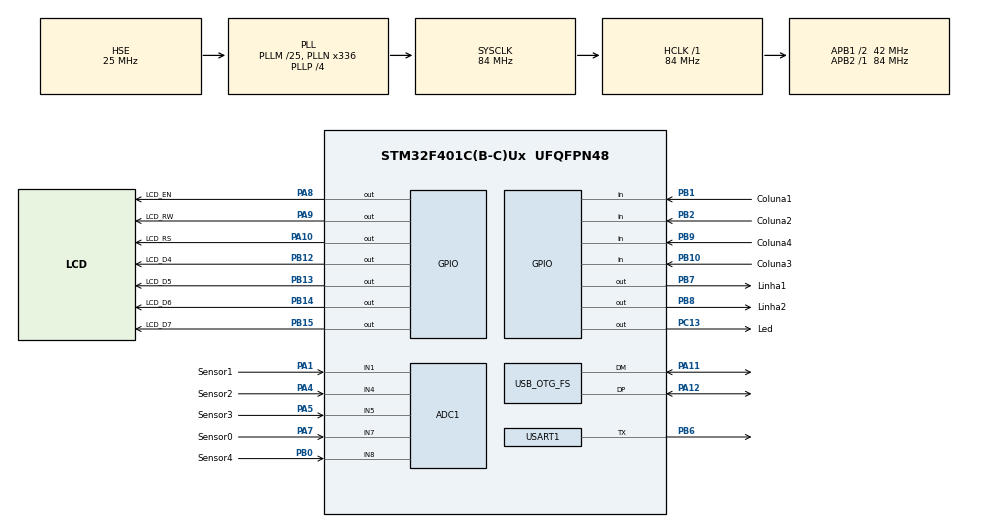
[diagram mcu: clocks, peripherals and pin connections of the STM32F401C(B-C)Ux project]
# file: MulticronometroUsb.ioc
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ADC1.Channel-2\#ChannelRegularConversion=ADC_CHANNEL_7
ADC1.Channel-3\#ChannelRegularConversion=ADC_CHANNEL_1
ADC1.Channel-4\#ChannelRegularConversion=ADC_CHANNEL_4
ADC1.Channel-5\#ChannelRegularConversion=ADC_CHANNEL_5
ADC1.Channel-6\#ChannelRegularConversion=ADC_CHANNEL_8
ADC1.ContinuousConvMode=DISABLE
ADC1.EOCSelection=ADC_EOC_SINGLE_CONV
ADC1.ExternalTrigConv=ADC_SOFTWARE_START
ADC1.InjNumberOfConversion=0
ADC1.NbrOfConversion=5
ADC1.NbrOfConversionFlag=1
ADC1.Rank-2\#ChannelRegularConversion=1
ADC1.Rank-3\#ChannelRegularConversion=2
ADC1.Rank-4\#ChannelRegularConversion=3
ADC1.Rank-5\#ChannelRegularConversion=4
ADC1.Rank-6\#ChannelRegularConversion=5
ADC1.SamplingTime-2\#ChannelRegularConversion=ADC_SAMPLETIME_56CYCLES
ADC1.SamplingTime-3\#ChannelRegularConversion=ADC_SAMPLETIME_56CYCLES
ADC1.SamplingTime-4\#ChannelRegularConversion=ADC_SAMPLETIME_56CYCLES
ADC1.SamplingTime-5\#ChannelRegularConversion=ADC_SAMPLETIME_56CYCLES
ADC1.SamplingTime-6\#ChannelRegularConversion=ADC_SAMPLETIME_56CYCLES
ADC1.ScanConvMode=ENABLE
ADC1.master=1
Dma.ADC1.0.Direction=DMA_PERIPH_TO_MEMORY
Dma.ADC1.0.FIFOMode=DMA_FIFOMODE_DISABLE
Dma.ADC1.0.Instance=DMA2_Stream0
Dma.ADC1.0.MemDataAlignment=DMA_MDATAALIGN_WORD
Dma.ADC1.0.MemInc=DMA_MINC_ENABLE
Dma.ADC1.0.Mode=DMA_NORMAL
Dma.ADC1.0.PeriphDataAlignment=DMA_PDATAALIGN_WORD
Dma.ADC1.0.PeriphInc=DMA_PINC_DISABLE
Dma.ADC1.0.Priority=DMA_PRIORITY_LOW
Dma.Request0=ADC1
FATFS._FS_EXFAT=1
FATFS._MAX_SS=512
FATFS._USE_LFN=1
Mcu.Family=STM32F4
Mcu.Name=STM32F401C(B-C)Ux
Mcu.Package=UFQFPN48
NVIC.DMA2_Stream0_IRQn=true\:0\:0\:false\:false\:true\:false\:true
NVIC.OTG_FS_IRQn=true\:0\:0\:false\:false\:true\:false\:true
NVIC.PriorityGroup=NVIC_PRIORITYGROUP_4
PA1.GPIO_Label=Sensor1
PA1.Signal=ADCx_IN1
PA10.GPIO_Label=LCD_RS
PA10.Signal=GPIO_Output
PA11.Mode=Host_Only
PA11.Signal=USB_OTG_FS_DM
PA12.Mode=Host_Only
PA12.Signal=USB_OTG_FS_DP
PA13.Signal=SYS_JTMS-SWDIO
PA14.Signal=SYS_JTCK-SWCLK
PA4.GPIO_Label=Sensor2
PA4.Signal=ADCx_IN4
PA5.GPIO_Label=Sensor3
PA5.Signal=ADCx_IN5
PA7.GPIO_Label=Sensor0
PA7.Signal=ADCx_IN7
PA8.GPIO_Label=LCD_EN
PA8.Signal=GPIO_Output
PA9.GPIO_Label=LCD_RW
PA9.Signal=GPIO_Output
PB0.GPIO_Label=Sensor4
PB0.Signal=ADCx_IN8
PB1.GPIO_Label=Coluna1
PB1.Signal=GPIO_Input
PB10.GPIO_Label=Coluna3
PB10.Signal=GPIO_Input
PB12.GPIO_Label=LCD_D4
PB12.Signal=GPIO_Output
PB13.GPIO_Label=LCD_D5
PB13.Signal=GPIO_Output
PB14.GPIO_Label=LCD_D6
PB14.Signal=GPIO_Output
PB15.GPIO_Label=LCD_D7
PB15.Signal=GPIO_Output
PB2.GPIO_Label=Coluna2
PB2.Signal=GPIO_Input
PB6.Mode=Half_duplex(single_wire_mode)
PB6.Signal=USART1_TX
PB7.GPIO_Label=Linha1
PB7.Signal=GPIO_Output
PB8.GPIO_Label=Linha2
PB8.Signal=GPIO_Output
PB9.GPIO_Label=Coluna4
PB9.Signal=GPIO_Input
PC13-ANTI_TAMP.GPIO_Label=Led
PC13-ANTI_TAMP.GPIO_ModeDefaultOutputPP=GPIO_MODE_OUTPUT_OD
PC13-ANTI_TAMP.GPIO_PuPd=GPIO_NOPULL
PC13-ANTI_TAMP.Signal=GPIO_Output
PC14-OSC32_IN.Signal=RCC_OSC32_IN
PC15-OSC32_OUT.Signal=RCC_OSC32_OUT
PH0\ -\ OSC_IN.Mode=HSE-External-Oscillator
PH0\ -\ OSC_IN.Signal=RCC_OSC_IN
PH1\ -\ OSC_OUT.Mode=HSE-External-Oscillator
PH1\ -\ OSC_OUT.Signal=RCC_OSC_OUT
ProjectManager.HeapSize=0x2000
ProjectManager.StackSize=0x800
ProjectManager.TargetToolchain=MDK-ARM V5.32
RCC.48MHZClocksFreq_Value=48000000
RCC.AHBFreq_Value=84000000
RCC.APB1CLKDivider=RCC_HCLK_DIV2
RCC.APB1Freq_Value=42000000
RCC.APB1TimFreq_Value=84000000
RCC.APB2Freq_Value=84000000
RCC.APB2TimFreq_Value=84000000
RCC.CortexFreq_Value=84000000
RCC.HCLKFreq_Value=84000000
RCC.HSE_VALUE=25000000
RCC.HSI_VALUE=16000000
RCC.LSE_VALUE=32768
RCC.PLLM=25
RCC.PLLN=336
RCC.PLLP=RCC_PLLP_DIV4
RCC.PLLQ=7
RCC.SYSCLKFreq_VALUE=84000000
RCC.SYSCLKSource=RCC_SYSCLKSOURCE_PLLCLK
RCC.VCOOutputFreq_Value=336000000
SH.ADCx_IN1.0=ADC1_IN1,IN1
SH.ADCx_IN4.0=ADC1_IN4,IN4
SH.ADCx_IN5.0=ADC1_IN5,IN5
SH.ADCx_IN7.0=ADC1_IN7,IN7
SH.ADCx_IN8.0=ADC1_IN8,IN8
USART1.BaudRate=57600
USART1.Mode=MODE_TX
USART1.VirtualMode=VM_ASYNC
USB_HOST.USBH_DEBUG_LEVEL=0
USB_HOST.USBH_HandleTypeDef=hUsbHostFS
USB_HOST.VirtualModeFS=Msc
USB_OTG_FS.VirtualMode=Host_Only
USB_OTG_FS.phy_itface=HCD_PHY_EMBEDDED
VP_FATFS_VS_USB.Mode=USB
VP_USB_HOST_VS_USB_HOST_MSC_FS.Mode=MSC_FS
board=custom

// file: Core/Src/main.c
/* USER CODE BEGIN Header */
/**
  ******************************************************************************
  * @file           : main.c
  * @brief          : Main program body
  ******************************************************************************
  * @attention
  *
  * Copyright (c) 2022 STMicroelectronics.
  * All rights reserved.
  *
  * This software is licensed under terms that can be found in the LICENSE file
  * in the root directory of this software component.
  * If no LICENSE file comes with this software, it is provided AS-IS.
  *
  ******************************************************************************
  */
/* USER CODE END Header */
#include "main.h"
#include "fatfs.h"
#include "usb_host.h"

/* USER CODE BEGIN Includes */
#include "stm32f4xx_hal.h"
 #include <stdio.h>
#include "Application.h"
#include "File_Handling.h"
#include "usb_host.h"
#include "usbh_core.h"
#include "usbh_msc.h"

/* USER CODE END Includes */

ADC_HandleTypeDef hadc1;
DMA_HandleTypeDef hdma_adc1;

UART_HandleTypeDef huart1;

void SystemClock_Config(void);

static void MX_USART1_UART_Init(void);
void MX_USB_HOST_Process(void);

int main(void)
{

  /* MCU Configuration--------------------------------------------------------*/

  /* Reset of all peripherals, Initializes the Flash interface and the Systick. */
    HAL_Init();

  /* USER CODE BEGIN Init */

  /*-----------------------------------------------------------------------
   * LATCH DE ENERGIA IMEDIATO - PA3 (PowerON) = HIGH
   * Deve ser a PRIMEIRA coisa apos HAL_Init() para garantir que a placa
   * fique ligada mesmo se alguma inicializacao posterior falhar.
   * Gpio.Init() em App.Init() ira re-configurar PA3 depois, sem problema.
   *-----------------------------------------------------------------------*/
  __HAL_RCC_GPIOA_CLK_ENABLE();
  {
    GPIO_InitTypeDef gpio = {0};
    gpio.Pin   = GPIO_PIN_3;            /* PA3 = PowerON  */
    gpio.Mode  = GPIO_MODE_OUTPUT_PP;
    gpio.Pull  = GPIO_PULLUP;
    gpio.Speed = GPIO_SPEED_FREQ_LOW;
    HAL_GPIO_Init(GPIOA, &gpio);
    HAL_GPIO_WritePin(GPIOA, GPIO_PIN_3, GPIO_PIN_SET);  /* Mantem ligado */
  }

  /* USER CODE END Init */

  /* Configure the system clock */
  SystemClock_Config();

  /* Initialize all configured peripherals */
  //MX_GPIO_Init();
  MX_FATFS_Init();
  //MX_USB_HOST_Init();
  MX_DMA_Init();
  MX_ADC1_Init();
  MX_USART1_UART_Init();

  /* Infinite loop */
  /* USER CODE BEGIN WHILE */

 HAL_ADC_Start(&hadc1);

  while (1)
  {
    /* USER CODE END WHILE */
    MX_USB_HOST_Process();

    /* USER CODE BEGIN 3 */
 //   HAL_UART_Transmit(&huart1, (uint8_t *)"teste ", 6, HAL_MAX_DELAY);
   App.Init();
   App.Run();

  }
  /* USER CODE END 3 */
}

void SystemClock_Config(void)
{
  RCC_OscInitTypeDef RCC_OscInitStruct = {0};
  RCC_ClkInitTypeDef RCC_ClkInitStruct = {0};

  /** Configure the main internal regulator output voltage
  */
  __HAL_RCC_PWR_CLK_ENABLE();
  __HAL_PWR_VOLTAGESCALING_CONFIG(PWR_REGULATOR_VOLTAGE_SCALE2);
  /** Initializes the RCC Oscillators according to the specified parameters
  * in the RCC_OscInitTypeDef structure.
  */
  RCC_OscInitStruct.OscillatorType = RCC_OSCILLATORTYPE_HSE;
  RCC_OscInitStruct.HSEState = RCC_HSE_ON;
  RCC_OscInitStruct.PLL.PLLState = RCC_PLL_ON;
  RCC_OscInitStruct.PLL.PLLSource = RCC_PLLSOURCE_HSE;
  RCC_OscInitStruct.PLL.PLLM = 25;
  RCC_OscInitStruct.PLL.PLLN = 336;
  RCC_OscInitStruct.PLL.PLLP = RCC_PLLP_DIV4;
  RCC_OscInitStruct.PLL.PLLQ = 7;
  if (HAL_RCC_OscConfig(&RCC_OscInitStruct) != HAL_OK)
  {
    Error_Handler();
  }
  /** Initializes the CPU, AHB and APB buses clocks
  */
  RCC_ClkInitStruct.ClockType = RCC_CLOCKTYPE_HCLK|RCC_CLOCKTYPE_SYSCLK
                              |RCC_CLOCKTYPE_PCLK1|RCC_CLOCKTYPE_PCLK2;
  RCC_ClkInitStruct.SYSCLKSource = RCC_SYSCLKSOURCE_PLLCLK;
  RCC_ClkInitStruct.AHBCLKDivider = RCC_SYSCLK_DIV1;
  RCC_ClkInitStruct.APB1CLKDivider = RCC_HCLK_DIV2;
  RCC_ClkInitStruct.APB2CLKDivider = RCC_HCLK_DIV1;

  if (HAL_RCC_ClockConfig(&RCC_ClkInitStruct, FLASH_LATENCY_2) != HAL_OK)
  {
    Error_Handler();
  }
}

void MX_ADC1_Init(void)
{

  ADC_ChannelConfTypeDef sConfig = {0};

  /* USER CODE BEGIN ADC1_Init 1 */

   HAL_ADC_DeInit(&hadc1);

  /* USER CODE END ADC1_Init 1 */
  /** Configure the global features of the ADC (Clock, Resolution, Data Alignment and number of conversion)
  */
  hadc1.Instance = ADC1;
  hadc1.Init.ClockPrescaler = ADC_CLOCK_SYNC_PCLK_DIV4;
  hadc1.Init.Resolution = ADC_RESOLUTION_12B;
  hadc1.Init.ScanConvMode = ENABLE;
  hadc1.Init.ContinuousConvMode = DISABLE;
  hadc1.Init.DiscontinuousConvMode = DISABLE;
  hadc1.Init.ExternalTrigConvEdge = ADC_EXTERNALTRIGCONVEDGE_NONE;
  hadc1.Init.ExternalTrigConv = ADC_SOFTWARE_START;
  hadc1.Init.DataAlign = ADC_DATAALIGN_RIGHT;
  hadc1.Init.NbrOfConversion = 5;
  hadc1.Init.DMAContinuousRequests = DISABLE;
  hadc1.Init.EOCSelection = ADC_EOC_SINGLE_CONV;
  if (HAL_ADC_Init(&hadc1) != HAL_OK)
  {
    Error_Handler();
  }
  /** Configure for the selected ADC regular channel its corresponding rank in the sequencer and its sample time.
  */
  sConfig.Channel = ADC_CHANNEL_7;
  sConfig.Rank = 1;
  sConfig.SamplingTime = ADC_SAMPLETIME_56CYCLES;
  if (HAL_ADC_ConfigChannel(&hadc1, &sConfig) != HAL_OK)
  {
    Error_Handler();
  }
  /** Configure for the selected ADC regular channel its corresponding rank in the sequencer and its sample time.
  */
  sConfig.Channel = ADC_CHANNEL_1;
  sConfig.Rank = 2;
  if (HAL_ADC_ConfigChannel(&hadc1, &sConfig) != HAL_OK)
  {
    Error_Handler();
  }
  /** Configure for the selected ADC regular channel its corresponding rank in the sequencer and its sample time.
  */
  sConfig.Channel = ADC_CHANNEL_4;
  sConfig.Rank = 3;
  if (HAL_ADC_ConfigChannel(&hadc1, &sConfig) != HAL_OK)
  {
    Error_Handler();
  }
  /** Configure for the selected ADC regular channel its corresponding rank in the sequencer and its sample time.
  */
  sConfig.Channel = ADC_CHANNEL_5;
  sConfig.Rank = 4;
  if (HAL_ADC_ConfigChannel(&hadc1, &sConfig) != HAL_OK)
  {
    Error_Handler();
  }
  /** Configure for the selected ADC regular channel its corresponding rank in the sequencer and its sample time.
  */
  sConfig.Channel = ADC_CHANNEL_8;
  sConfig.Rank = 5;
  if (HAL_ADC_ConfigChannel(&hadc1, &sConfig) != HAL_OK)
  {
    Error_Handler();
  }

}

static void MX_USART1_UART_Init(void)
{

  huart1.Instance = USART1;
  huart1.Init.BaudRate = 57600;
  huart1.Init.WordLength = UART_WORDLENGTH_8B;
  huart1.Init.StopBits = UART_STOPBITS_1;
  huart1.Init.Parity = UART_PARITY_NONE;
  huart1.Init.Mode = UART_MODE_TX;
  huart1.Init.HwFlowCtl = UART_HWCONTROL_NONE;
  huart1.Init.OverSampling = UART_OVERSAMPLING_16;
  if (HAL_HalfDuplex_Init(&huart1) != HAL_OK)
  {
    Error_Handler();
  }

}

void MX_DMA_Init(void)
{

  /* DMA controller clock enable */
  __HAL_RCC_DMA2_CLK_ENABLE();

  /* DMA interrupt init */
  /* DMA2_Stream0_IRQn interrupt configuration */
  HAL_NVIC_SetPriority(DMA2_Stream0_IRQn, 0, 0);
  HAL_NVIC_EnableIRQ(DMA2_Stream0_IRQn);

}

void MX_GPIO_InterruptInit(void)
{
  GPIO_InitTypeDef GPIO_InitStruct = {0};

  /* GPIO Ports Clock Enable */
  __HAL_RCC_GPIOC_CLK_ENABLE();
  __HAL_RCC_GPIOH_CLK_ENABLE();
  __HAL_RCC_GPIOA_CLK_ENABLE();
  __HAL_RCC_GPIOB_CLK_ENABLE();

  /*Configure GPIO pins : Sensor1_Pin Sensor2_Pin Sensor3_Pin Sensor0_Pin */
  GPIO_InitStruct.Pin = Sensor1_Pin|Sensor2_Pin|Sensor3_Pin|Sensor0_Pin;
  GPIO_InitStruct.Mode = GPIO_MODE_IT_RISING_FALLING;
  GPIO_InitStruct.Pull = GPIO_NOPULL;
  HAL_GPIO_Init(GPIOA, &GPIO_InitStruct);

  /*Configure GPIO pin : Sensor4_Pin */
  GPIO_InitStruct.Pin = Sensor4_Pin;
  GPIO_InitStruct.Mode = GPIO_MODE_IT_RISING_FALLING;
  GPIO_InitStruct.Pull = GPIO_NOPULL;
  HAL_GPIO_Init(Sensor4_GPIO_Port, &GPIO_InitStruct);

  /* EXTI interrupt init*/
  HAL_NVIC_SetPriority(EXTI0_IRQn, 0, 0);
  HAL_NVIC_EnableIRQ(EXTI0_IRQn);

  HAL_NVIC_SetPriority(EXTI1_IRQn, 0, 0);
  HAL_NVIC_EnableIRQ(EXTI1_IRQn);

  HAL_NVIC_SetPriority(EXTI4_IRQn, 0, 0);
  HAL_NVIC_EnableIRQ(EXTI4_IRQn);

  HAL_NVIC_SetPriority(EXTI9_5_IRQn, 0, 0);
  HAL_NVIC_EnableIRQ(EXTI9_5_IRQn);

}

void Error_Handler(void)
{
  /* USER CODE BEGIN Error_Handler_Debug */
  /* Garante que a placa permanece ligada mesmo em erro */
  __HAL_RCC_GPIOA_CLK_ENABLE();
  __HAL_RCC_GPIOB_CLK_ENABLE();
  HAL_GPIO_WritePin(GPIOA, GPIO_PIN_3, GPIO_PIN_SET);  /* PA3 PowerON HIGH */

  /* Pisca o LED (PB3) para indicar erro */
  {
    GPIO_InitTypeDef gpio = {0};
    gpio.Pin   = GPIO_PIN_3;
    gpio.Mode  = GPIO_MODE_OUTPUT_OD;
    gpio.Pull  = GPIO_PULLUP;
    gpio.Speed = GPIO_SPEED_FREQ_LOW;
    HAL_GPIO_Init(GPIOB, &gpio);
  }

  while (1)
  {
    HAL_GPIO_TogglePin(GPIOB, GPIO_PIN_3);  /* Led pisca = erro */
    HAL_Delay(200);
  }
  /* USER CODE END Error_Handler_Debug */
}
